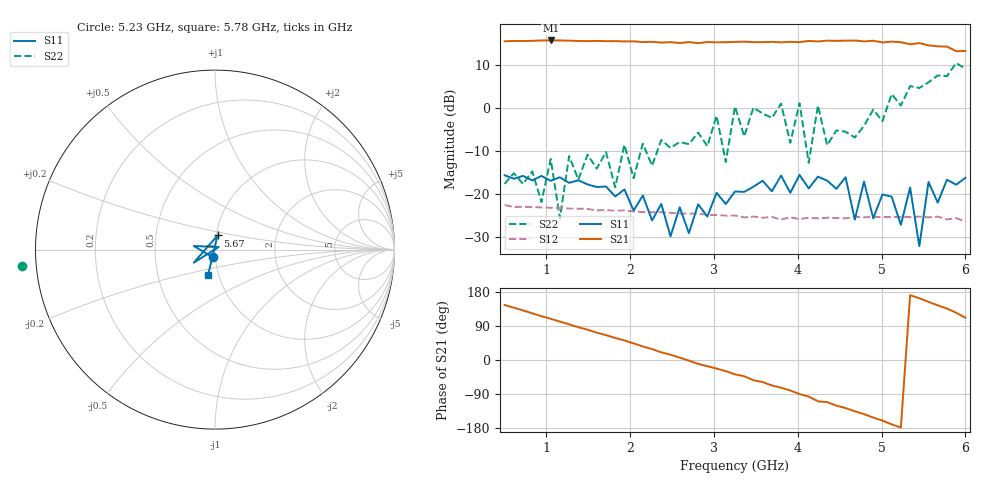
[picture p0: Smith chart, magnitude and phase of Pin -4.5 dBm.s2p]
! RsaToolbox (C) 2015 Rohde & Schwarz America
! Number of points: 51
! Number of ports: 2
! Balanced ports?: No
# Hz S RI R 50
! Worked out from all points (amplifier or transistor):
!   51 points, 500 MHz to 6 GHz, reference 50 ohm
!   highest |S21| = 15.8 dB at 1.05 GHz (marker M1)
!   |S21| within 3 dB of that: start of sweep to end of sweep
!   unconditionally stable (mu >= 1): start of sweep to 3.005 GHz; 3.046 GHz to 3.219 GHz; 4.288 GHz to 4.801 GHz (the widest 3 of 6)
!   at 1.38 GHz: K = 1.35, MAG = 15.9 dB, |S12| = -23.3 dB
!   at 3.25 GHz: K = 0.08, MSG = 20.2 dB, |S12| = -24.9 dB
!   at 6 GHz: K = -15.48, MSG = 19.8 dB, |S12| = -26.3 dB
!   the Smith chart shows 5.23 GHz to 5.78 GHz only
!   S11 on the Smith chart (normalised r, x): 5.23 GHz: 0.97, -0.08; 5.67 GHz: 1.02, +0.16; 5.78 GHz: 0.89, -0.26
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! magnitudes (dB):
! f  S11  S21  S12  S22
! 500 MHz  -15.6  15.6  -22.5  -17.6
! 940 MHz  -15.7  15.7  -23.0  -21.8
! 1.05 GHz  -16.8  15.8  -23.1  -11.8
! 1.16 GHz  -16.0  15.7  -23.2  -25.5
! 1.27 GHz  -17.3  15.7  -23.3  -11.1
! 1.49 GHz  -17.7  15.6  -23.4  -10.8
! 1.82 GHz  -20.5  15.6  -23.8  -18.3
! 2.37 GHz  -22.2  15.3  -24.1  -7.4
! 2.7 GHz  -29.0  15.4  -24.5  -8.3
! 3.03 GHz  -19.6  15.3  -24.8  -1.8
! 3.14 GHz  -22.3  15.3  -24.9  -12.5
! 3.25 GHz  -19.3  15.4  -24.9  0.4
! 3.91 GHz  -19.6  15.4  -25.3  -8.0
! 4.02 GHz  -15.5  15.4  -25.7  1.2
! 4.13 GHz  -18.6  15.6  -25.4  -12.7
! 4.24 GHz  -15.9  15.5  -25.6  0.6
! 4.35 GHz  -16.8  15.7  -25.4  -8.6
! 5.12 GHz  -20.6  15.5  -25.3  3.3
! 5.23 GHz  -27.1  15.4  -25.2  0.6
! 5.67 GHz  -21.9  14.4  -25.2  7.6
! 5.78 GHz  -16.6  14.3  -25.8  7.5
! 6 GHz  -16.1  13.3  -26.3  9.2
